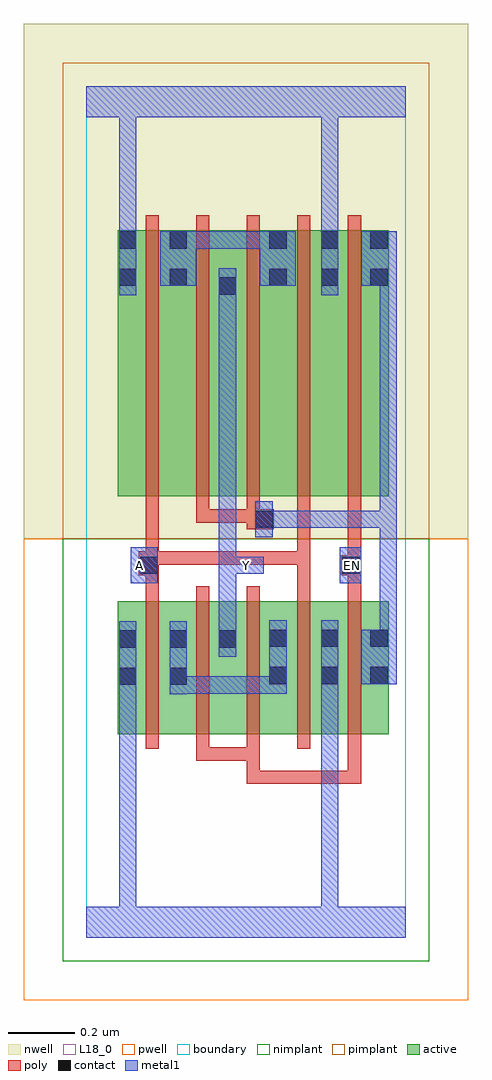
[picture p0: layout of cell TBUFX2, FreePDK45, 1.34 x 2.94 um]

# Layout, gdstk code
import gdstk
lib = gdstk.Library(unit=1e-6, precision=1e-09)
def R(c, l, rs):  # rectangles x0, y0, x1, y1
    for r in rs: c.add(gdstk.rectangle(r[:2], r[2:], *l))
def A(c, l, x, y, w, h, nx, ny, dx, dy):  # array of equal rectangles
    R(c, l, [(x+i*dx, y+j*dy, x+i*dx+w, y+j*dy+h) for i in range(nx) for j in range(ny)])
active = (1, 0)
pwell = (2, 0)
nwell = (3, 0)
nimplant = (4, 0)
pimplant = (5, 0)
poly = (9, 0)
contact = (10, 0)
metal1 = (11, 0)
L18_0 = (18, 0)
boundary = (235, 0)

tbufx2 = lib.new_cell('TBUFX2')
R(tbufx2, active, [(0.094,0.612,0.306,1.012), (0.246,0.612,0.454,1.012), (0.394,0.612,0.606,1.012), (0.546,0.612,0.762,1.012), (0.702,0.612,0.91,1.012), (0.094,0.756,0.154,1.012), (0.246,0.756,0.306,0.928), (0.394,0.756,0.454,0.928), (0.546,0.756,0.606,0.93), (0.702,0.756,0.762,0.93), (0.85,0.756,0.91,1.012), (0.094,1.328,0.154,2.128), (0.094,1.328,0.306,2.128), (0.246,1.328,0.454,2.128), (0.394,1.328,0.606,2.128), (0.546,1.328,0.762,2.128), (0.702,1.328,0.91,2.128), (0.85,1.328,0.91,2.128), (0.246,1.686,0.306,2.128), (0.394,1.686,0.454,2.044), (0.546,1.686,0.606,2.128), (0.702,1.686,0.762,2.128)])
R(tbufx2, pwell, [(-0.188,-0.188,1.148,1.2)])
R(tbufx2, nwell, [(-0.188,1.2,1.148,2.748)])
R(tbufx2, nimplant, [(-0.072,-0.072,1.032,1.2)])
R(tbufx2, pimplant, [(-0.072,1.2,1.032,2.632)])
A(tbufx2, poly, 0.178, 0.568, 0.04, 0.488, 5, 1, 0.152, 0)
A(tbufx2, poly, 0.178, 1.284, 0.04, 0.888, 5, 1, 0.152, 0)
R(tbufx2, poly, [(0.482,0.462,0.522,0.502), (0.482,0.462,0.522,0.502), (0.482,0.462,0.644,0.502), (0.482,0.462,0.522,0.572), (0.604,0.462,0.644,0.502), (0.604,0.462,0.826,0.502), (0.786,0.462,0.826,0.502), (0.786,0.462,0.826,0.502), (0.786,0.462,0.826,0.502), (0.786,0.462,0.826,0.608), (0.33,0.532,0.37,0.572), (0.33,0.532,0.37,0.572), (0.33,0.532,0.37,0.572), (0.33,0.532,0.37,0.608), (0.33,0.532,0.522,0.572), (0.482,0.532,0.522,0.608), (0.178,1.016,0.218,1.13), (0.634,1.016,0.674,1.162), (0.786,1.016,0.826,1.13), (0.158,1.09,0.218,1.162), (0.766,1.09,0.826,1.15), (0.786,1.11,0.826,1.324), (0.786,1.11,0.826,1.15), (0.786,1.11,0.826,1.15), (0.178,1.122,0.218,1.162), (0.178,1.122,0.218,1.162), (0.178,1.122,0.218,1.162), (0.178,1.122,0.218,1.162), (0.178,1.122,0.218,1.324), (0.178,1.122,0.416,1.162), (0.376,1.122,0.416,1.162), (0.376,1.122,0.416,1.162), (0.376,1.122,0.416,1.162), (0.376,1.122,0.538,1.162), (0.498,1.122,0.538,1.162), (0.498,1.122,0.538,1.162), (0.498,1.122,0.538,1.162), (0.498,1.122,0.674,1.162), (0.634,1.122,0.674,1.162), (0.634,1.122,0.674,1.162), (0.634,1.122,0.674,1.162), (0.634,1.122,0.674,1.324), (0.482,1.228,0.564,1.288), (0.33,1.248,0.37,1.288), (0.33,1.248,0.37,1.288), (0.33,1.248,0.37,1.288), (0.33,1.248,0.37,1.324), (0.33,1.248,0.522,1.288), (0.482,1.248,0.522,1.324)])
R(tbufx2, contact, [(0.098,0.76,0.15,0.812), (0.25,0.76,0.302,0.812), (0.55,0.762,0.602,0.814), (0.706,0.762,0.758,0.814), (0.854,0.762,0.906,0.814), (0.098,0.872,0.15,0.924), (0.25,0.872,0.302,0.924), (0.398,0.872,0.45,0.924), (0.55,0.874,0.602,0.926), (0.706,0.874,0.758,0.926), (0.854,0.874,0.906,0.926), (0.162,1.094,0.214,1.146), (0.77,1.094,0.822,1.146), (0.508,1.232,0.56,1.284), (0.398,1.934,0.45,1.986), (0.098,1.96,0.15,2.012), (0.25,1.96,0.302,2.012), (0.55,1.96,0.602,2.012), (0.706,1.96,0.758,2.012), (0.854,1.96,0.906,2.012), (0.098,2.072,0.15,2.124), (0.25,2.072,0.302,2.124), (0.55,2.072,0.602,2.124), (0.706,2.072,0.758,2.124), (0.854,2.072,0.906,2.124)])
R(tbufx2, metal1, [(0,0,0.96,0.092), (0.098,0.04,0.15,0.092), (0.098,0.04,0.15,0.092), (0.098,0.04,0.15,0.092), (0.098,0.04,0.15,0.092), (0.098,0.04,0.15,0.092), (0.098,0.04,0.15,0.092), (0.098,0.04,0.15,0.674), (0.706,0.04,0.758,0.092), (0.706,0.04,0.758,0.092), (0.706,0.04,0.758,0.092), (0.706,0.04,0.758,0.092), (0.706,0.04,0.758,0.092), (0.706,0.04,0.758,0.092), (0.706,0.04,0.758,0.786), (0.098,0.622,0.15,0.674), (0.098,0.622,0.15,0.674), (0.098,0.622,0.15,0.674), (0.098,0.622,0.15,0.674), (0.098,0.622,0.15,0.674), (0.098,0.622,0.15,0.784), (0.098,0.732,0.15,0.952), (0.25,0.732,0.302,0.952), (0.25,0.734,0.33,0.786), (0.278,0.734,0.33,0.786), (0.278,0.734,0.44,0.786), (0.388,0.734,0.44,0.786), (0.388,0.734,0.44,0.786), (0.388,0.734,0.44,0.786), (0.388,0.734,0.602,0.786), (0.55,0.734,0.602,0.954), (0.706,0.734,0.758,0.786), (0.706,0.734,0.758,0.786), (0.706,0.734,0.758,0.786), (0.706,0.734,0.758,0.786), (0.706,0.734,0.758,0.786), (0.706,0.734,0.758,0.786), (0.706,0.734,0.758,0.954), (0.826,0.762,0.934,0.926), (0.398,0.844,0.45,0.952), (0.882,0.874,0.934,1.284), (0.398,0.9,0.45,1.146), (0.134,1.066,0.214,1.174), (0.762,1.066,0.826,1.174), (0.398,1.094,0.45,1.958), (0.398,1.094,0.534,1.146), (0.508,1.204,0.56,1.312), (0.508,1.232,0.56,1.284), (0.508,1.232,0.56,1.284), (0.508,1.232,0.704,1.284), (0.652,1.232,0.704,1.284), (0.652,1.232,0.704,1.284), (0.652,1.232,0.704,1.284), (0.652,1.232,0.934,1.284), (0.882,1.232,0.934,2.012), (0.882,1.232,0.934,1.284), (0.882,1.232,0.934,1.284), (0.882,1.232,0.934,1.284), (0.882,1.232,0.934,1.284), (0.882,1.232,0.934,1.284), (0.398,1.906,0.45,1.958), (0.398,1.906,0.45,1.958), (0.398,1.906,0.45,2.014), (0.098,1.932,0.15,2.152), (0.706,1.932,0.758,2.152), (0.222,1.96,0.33,2.124), (0.522,1.96,0.63,2.124), (0.826,1.96,0.934,2.124), (0.278,2.072,0.33,2.124), (0.278,2.072,0.33,2.124), (0.278,2.072,0.44,2.124), (0.388,2.072,0.44,2.124), (0.388,2.072,0.44,2.124), (0.388,2.072,0.44,2.124), (0.388,2.072,0.574,2.124), (0.098,2.1,0.15,2.52), (0.706,2.1,0.758,2.52), (0,2.468,0.96,2.56), (0.098,2.468,0.15,2.52), (0.098,2.468,0.15,2.52), (0.098,2.468,0.15,2.52), (0.098,2.468,0.15,2.52), (0.098,2.468,0.15,2.52), (0.098,2.468,0.15,2.52), (0.098,2.468,0.15,2.52), (0.098,2.468,0.15,2.52), (0.706,2.468,0.758,2.52), (0.706,2.468,0.758,2.52), (0.706,2.468,0.758,2.52), (0.706,2.468,0.758,2.52), (0.706,2.468,0.758,2.52), (0.706,2.468,0.758,2.52), (0.706,2.468,0.758,2.52), (0.706,2.468,0.758,2.52)])
A(tbufx2, L18_0, 0.134, 1.094, 0.052, 0.052, 3, 1, 0.32, 0)
R(tbufx2, L18_0, [(0,0,0.96,0.092), (0.098,0.04,0.15,0.092), (0.098,0.04,0.15,0.092), (0.098,0.04,0.15,0.092), (0.098,0.04,0.15,0.092), (0.098,0.04,0.15,0.092), (0.098,0.04,0.15,0.092), (0.098,0.04,0.15,0.674), (0.706,0.04,0.758,0.092), (0.706,0.04,0.758,0.092), (0.706,0.04,0.758,0.092), (0.706,0.04,0.758,0.092), (0.706,0.04,0.758,0.092), (0.706,0.04,0.758,0.092), (0.706,0.04,0.758,0.786), (0.098,0.622,0.15,0.674), (0.098,0.622,0.15,0.674), (0.098,0.622,0.15,0.674), (0.098,0.622,0.15,0.674), (0.098,0.622,0.15,0.674), (0.098,0.622,0.15,0.784), (0.098,0.732,0.15,0.952), (0.706,0.734,0.758,0.786), (0.706,0.734,0.758,0.786), (0.706,0.734,0.758,0.786), (0.706,0.734,0.758,0.786), (0.706,0.734,0.758,0.786), (0.706,0.734,0.758,0.786), (0.706,0.734,0.758,0.954), (0.398,0.844,0.45,0.952), (0.398,0.9,0.45,1.146), (0.134,1.066,0.214,1.174), (0.762,1.066,0.826,1.174), (0.398,1.094,0.534,1.146), (0.398,1.094,0.45,1.958), (0.398,1.906,0.45,1.958), (0.398,1.906,0.45,1.958), (0.398,1.906,0.45,2.014), (0.098,1.932,0.15,2.152), (0.706,1.932,0.758,2.152), (0.098,2.1,0.15,2.52), (0.706,2.1,0.758,2.52), (0,2.468,0.96,2.56), (0.098,2.468,0.15,2.52), (0.098,2.468,0.15,2.52), (0.098,2.468,0.15,2.52), (0.098,2.468,0.15,2.52), (0.098,2.468,0.15,2.52), (0.098,2.468,0.15,2.52), (0.098,2.468,0.15,2.52), (0.098,2.468,0.15,2.52), (0.706,2.468,0.758,2.52), (0.706,2.468,0.758,2.52), (0.706,2.468,0.758,2.52), (0.706,2.468,0.758,2.52), (0.706,2.468,0.758,2.52), (0.706,2.468,0.758,2.52), (0.706,2.468,0.758,2.52), (0.706,2.468,0.758,2.52)])
R(tbufx2, boundary, [(0,0,0.96,2.56)])
tbufx2.add(gdstk.Label('A', (0.16,1.12), layer=11, texttype=0))
tbufx2.add(gdstk.Label('EN', (0.8,1.12), layer=11, texttype=0))
tbufx2.add(gdstk.Label('Y', (0.48,1.12), layer=11, texttype=0))

lib.write_gds('TBUFX2.gds')
